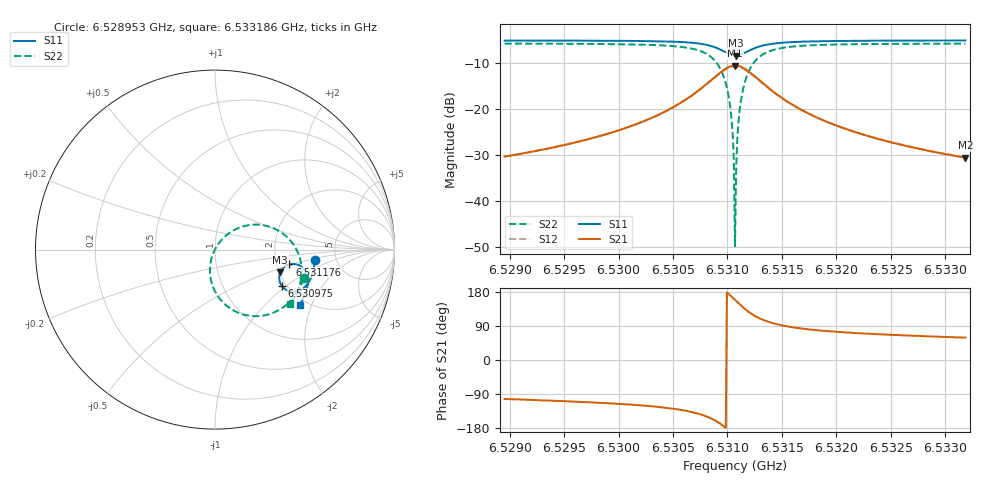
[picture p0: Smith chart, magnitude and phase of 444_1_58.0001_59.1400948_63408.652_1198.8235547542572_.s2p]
#  HZ  S  RI  R  50.00
! Rohde & Schwarz Vector Network Analyzer
! Rohde-Schwarz,ZNB20-2Port,1311601062101988,3.16
! Created: UTC 3/21/2024, 1:10:10 AM
! freq[Hz]  re:S11  im:S11  re:S21  im:S21  re:S12  im:S12  re:S22  im:S22
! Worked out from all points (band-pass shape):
!   401 points, 6.528953 GHz to 6.533186 GHz, reference 50 ohm
!   highest |S21| = -10.46 dB at 6.53107 GHz (marker M1); lowest = -30.6 dB at 6.533186 GHz (marker M2)
!   |S21| within 3 dB of the highest: 6.53086 GHz to 6.531283 GHz (423.8 kHz wide, 0.00649 % of centre)
!   lowest |S11| = -8.3 dB at 6.53108 GHz (marker M3), VSWR 2.25, Z = 101 - j30.3 ohm
!   |S11| at or under -10 dB: nowhere
!   |S22| runs from -49.9 to -5.7 dB; largest |S21 - S12| = 0.011
!   S11 on the Smith chart (normalised r, x): 6.528953 GHz: 3.45, -0.58; 6.530975 GHz: 1.89, -0.93; 6.531176 GHz: 2.35, -0.47; 6.533186 GHz: 1.82, -1.64
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6.5289533e9  0.5582 -0.0572  -0.00676 -0.0297  -0.00737 -0.0296  0.495 -0.16
6.5296623e9  0.548 -0.1157  -0.0159 -0.0422  -0.017 -0.042  0.465 -0.2256
6.5303714e9  0.5198 -0.1853  -0.0489 -0.0725  -0.0509 -0.0713  0.3856 -0.3173
6.5307947e9  0.4503 -0.2343  -0.1541 -0.0981  -0.1564 -0.0921  0.1831 -0.3671
6.5309005e9  0.4066 -0.2294  -0.2219 -0.0725  -0.2214 -0.0636  0.0671 -0.3145
6.5309746e9  0.3729 -0.2029  -0.2724 -0.0159  -0.267 -0.00627  -0.00994 -0.2109
6.5310275e9  0.3587 -0.168  -0.2893 0.0503  -0.2804 0.0573  -0.0276 -0.0983
6.5310381e9  0.3579 -0.16  -0.2891 0.065  -0.2796 0.0713  -0.0249 -0.0739
6.5310487e9  0.358 -0.1517  -0.2873 0.0799  -0.2773 0.0854  -0.0195 -0.0496
6.5310593e9  0.359 -0.1435  -0.284 0.0948  -0.2738 0.0994  -0.0119 -0.0257
6.5310699e9  0.3609 -0.1354  -0.2792 0.1095  -0.2688 0.1129  -0.00191 -0.00257
6.5310804e9  0.3638 -0.1274  -0.273 0.1235  -0.2627 0.126  0.0106 0.0196
6.531091e9  0.3674 -0.1199  -0.2656 0.1368  -0.2552 0.1383  0.0249 0.0403
6.5311016e9  0.3719 -0.1128  -0.2568 0.1492  -0.2468 0.1499  0.0412 0.0593
6.5311122e9  0.3768 -0.1064  -0.2471 0.1604  -0.2374 0.1603  0.0589 0.0762
6.5311333e9  0.3885 -0.0956  -0.2253 0.1794  -0.2166 0.1781  0.0978 0.1042
6.5311757e9  0.4147 -0.0828  -0.1776 0.2025  -0.1711 0.1995  0.1803 0.1349
6.5312498e9  0.4567 -0.0831  -0.1036 0.205  -0.1003 0.202  0.3051 0.1268
6.5313556e9  0.4932 -0.1052  -0.0399 0.1747  -0.0384 0.1732  0.4097 0.0619
6.5317789e9  0.5181 -0.1846  0.0153 0.0845  0.0163 0.0842  0.4828 -0.1277
6.5324879e9  0.4985 -0.2563  0.0174 0.0404  0.0182 0.0402  0.4552 -0.2443
6.5331864e9  0.4712 -0.3079  0.0152 0.0254  0.0158 0.0252  0.4204 -0.3057
